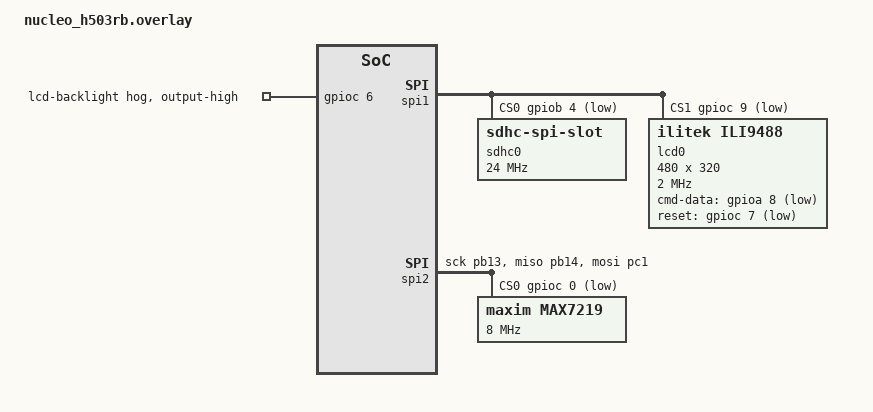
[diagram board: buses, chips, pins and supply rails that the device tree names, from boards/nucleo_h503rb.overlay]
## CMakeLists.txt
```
cmake_minimum_required(VERSION 3.20.0)

set(BOARD_ROOT ${CMAKE_CURRENT_SOURCE_DIR} CACHE PATH "")
set(BOARD nucleo_h503rb CACHE PATH "")
find_package(Zephyr REQUIRED HINTS ${CMAKE_CURRENT_SOURCE_DIR}/..)

project(hello)

target_sources(app PRIVATE
    src/main.c
)
# target_link_libraries(hello PRIVATE )
```

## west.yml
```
manifest:
  remotes:
    - name: zephyrproject-rtos
      url-base: https://github.com/zephyrproject-rtos

  projects:
    - name: zephyr
      remote: zephyrproject-rtos
      revision: main
      import:
        name-allowlist:
          - cmsis
          - hal_stm32
          - fatfs

  self:
    path: application
```

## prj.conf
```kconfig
CONFIG_LOG=y

CONFIG_DISK_ACCESS=y
CONFIG_FILE_SYSTEM=y
CONFIG_DISK_DRIVER_SDMMC=y
CONFIG_FAT_FILESYSTEM_ELM=y

CONFIG_DISPLAY=y
CONFIG_MAX7219=y
```

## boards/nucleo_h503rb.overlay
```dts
/ {
	chosen {
		zephyr,sdmmc-disk = &sdhc0;
		zephyr,display = &lcd0;
	};
};

&spi1 {
	status = "okay";
	cs-gpios = <&gpiob 4 GPIO_ACTIVE_LOW>, <&gpioc 9 GPIO_ACTIVE_LOW>, <&gpiob 5 GPIO_ACTIVE_LOW>;

	sdhc0: sdhc@0 {
			compatible = "zephyr,sdhc-spi-slot";
			reg = <0>;
			status = "okay";
			mmc {
				compatible = "zephyr,sdmmc-disk";
				status = "okay";
			};
			spi-max-frequency = <DT_FREQ_M(24)>;
	};

	lcd0: lcd@1 {
		compatible = "ilitek,ili9488";
		reg = <1>;
		status = "okay";
		spi-max-frequency = <DT_FREQ_M(2)>;
		height = < 320 >;
		width = < 480 >;
		cmd-data-gpios = < &gpioa 8 GPIO_ACTIVE_LOW >;
		reset-gpios = < &gpioc 7 GPIO_ACTIVE_LOW >;
		duplex = <2048>;
	};
};

&gpioc {
	lcd-backlight {
		gpio-hog;
		gpios = <6 GPIO_ACTIVE_HIGH>;
		output-high;
	};
};

&spi2 {
	pinctrl-0 = <&spi2_sck_pb13 &spi2_miso_pb14 &spi2_mosi_pc1>;
	pinctrl-names = "default";
	clocks = <&rcc STM32_CLOCK_BUS_APB1 0x00004000>, <&rcc STM32_SRC_PLL1_Q SPI2_SEL(0)>;
	status = "okay";

	cs-gpios = < &gpioc 0 GPIO_ACTIVE_LOW >;
	max7219: max7219@0 {
		compatible = "maxim,max7219";
		reg = <0>;
		spi-max-frequency = <DT_FREQ_M(8)>;
		status = "okay";
	};
};
```

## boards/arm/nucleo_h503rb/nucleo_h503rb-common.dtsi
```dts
#include <st/h5/stm32h503Xb.dtsi>
#include <st/h5/stm32h503rbtx-pinctrl.dtsi>
#include <zephyr/dt-bindings/input/input-event-codes.h>

/ {
};

&clk_hse {
	clock-frequency = <DT_FREQ_M(24)>;
	status = "okay";
};

&clk_hsi48 {
	status = "okay";
};

&clk_lse {
	status = "okay";
};

&pll {
	div-m = <6>;
	mul-n = <120>;
	div-p = <2>;
	div-q = <5>;
	div-r = <2>;
	clocks = <&clk_hse>;
	status = "okay";
};

&rcc {
	clocks = <&pll>;
	clock-frequency = <DT_FREQ_M(240)>;
	ahb-prescaler = <1>;
	apb1-prescaler = <1>;
	apb2-prescaler = <1>;
	apb3-prescaler = <1>;
};

&usart3 {
	pinctrl-0 = <&usart3_tx_pa4 &usart3_rx_pa3>;
	pinctrl-names = "default";
	current-speed = <115200>;
	status = "okay";
};

&spi1 {
	pinctrl-0 = <&spi1_sck_pa5 &spi1_miso_pa6 &spi1_mosi_pa7>;
	pinctrl-names = "default";
	clocks = <&rcc STM32_CLOCK_BUS_APB2 0x00001000>, <&rcc STM32_SRC_PLL1_Q SPI1_SEL(0)>;
	status = "okay";
};

&iwdg {
	status = "okay";
};

&gpdma1 {
	status = "okay";
};

&gpdma2 {
	status = "okay";
};

&adc1 {
	pinctrl-0 = <&adc1_inp3_pa6 &adc1_inp15_pa3>; /* Zio A0, Zio D35 */
	pinctrl-names = "default";
	st,adc-clock-source = <ASYNC>;
	st,adc-prescaler = <6>;
	status = "okay";
};

zephyr_udc0: &usb {
	pinctrl-0 = <&usb_dm_pa11 &usb_dp_pa12>;
	pinctrl-names = "default";
	status = "okay";
};

&vref {
	status = "okay";
};

&vbat {
	status = "okay";
};
```

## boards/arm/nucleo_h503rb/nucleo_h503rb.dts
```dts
/dts-v1/;
#include "nucleo_h503rb-common.dtsi"


/ {
	model = "STMicroelectronics H503RB-NUCLEO board";
	compatible = "st,stm32h503rb-nucleo";

	#address-cells = <1>;
	#size-cells = <1>;

	chosen {
		zephyr,console = &usart3;
		zephyr,shell-uart = &usart3;
		zephyr,sram = &sram0;
		zephyr,flash = &flash0;
	};

	aliases {
		watchdog0 = &iwdg;
		volt-sensor0 = &vref;
		volt-sensor1 = &vbat;
	};
};
```

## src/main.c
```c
#include <stdio.h>

#include <zephyr/kernel.h>
#include <zephyr/device.h>
#include <zephyr/storage/disk_access.h>
#include <zephyr/logging/log.h>
#include <zephyr/fs/fs.h>

#include <zephyr/drivers/display.h>
#include <errno.h>

LOG_MODULE_REGISTER(main);

void format_n(uint32_t n, uint8_t *buf, size_t bufsz)
{
	const uint8_t table[] = {126, 48, 109, 121, 51, 91, 95, 112, 127, 123};
	for (size_t i = 0; i < bufsz; ++i)
	{
		buf[i] = table[n % 10];
		n /= 10;
	}
}

int main(void)
{
	const struct device *display_dev = DEVICE_DT_GET(DT_NODELABEL(max7219));
	if (!device_is_ready(display_dev))
	{
		LOG_ERR("display not ready");
	}

	struct display_buffer_descriptor buf_desc = 
	{
		.buf_size = 8,
		.height = 8,
		.width = 8,
		.pitch = 8
	};

	uint8_t buf[8];

	for (;;)
	{
		format_n(k_uptime_get(), buf, sizeof(buf));
		display_write(display_dev, 0, 0, &buf_desc, buf);
	}

	return 0;
}
```
